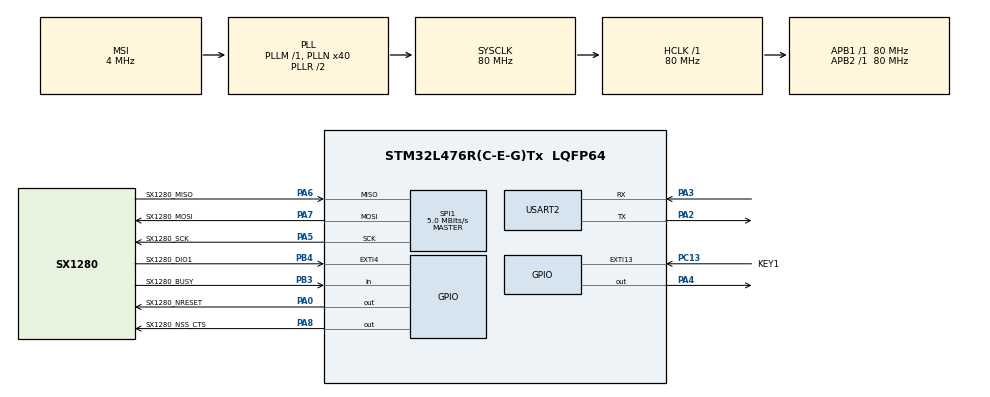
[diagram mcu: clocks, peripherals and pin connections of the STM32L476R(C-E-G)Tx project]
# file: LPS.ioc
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LPTIM1.ClockPrescaler=LPTIM_PRESCALER_DIV128
Mcu.Family=STM32L4
Mcu.Name=STM32L476R(C-E-G)Tx
Mcu.Package=LQFP64
NVIC.EXTI15_10_IRQn=true\:2\:0\:true\:false\:true\:true\:true
NVIC.EXTI4_IRQn=true\:3\:0\:true\:false\:true\:true\:true
NVIC.LPTIM1_IRQn=true\:1\:0\:true\:false\:true\:true\:true
NVIC.PriorityGroup=NVIC_PRIORITYGROUP_4
PA0.GPIO_Label=SX1280_NRESET
PA0.Signal=GPIO_Output
PA13\ (JTMS-SWDIO).Mode=Serial_Wire
PA13\ (JTMS-SWDIO).Signal=SYS_JTMS-SWDIO
PA14\ (JTCK-SWCLK).Mode=Serial_Wire
PA14\ (JTCK-SWCLK).Signal=SYS_JTCK-SWCLK
PA2.Mode=Asynchronous
PA2.Signal=USART2_TX
PA3.Mode=Asynchronous
PA3.Signal=USART2_RX
PA4.Signal=GPIO_Output
PA5.GPIO_Label=SX1280_SCK
PA5.Mode=Full_Duplex_Master
PA5.Signal=SPI1_SCK
PA6.GPIO_Label=SX1280_MISO
PA6.Mode=Full_Duplex_Master
PA6.Signal=SPI1_MISO
PA7.GPIO_Label=SX1280_MOSI
PA7.Mode=Full_Duplex_Master
PA7.Signal=SPI1_MOSI
PA8.GPIO_Label=SX1280_NSS_CTS
PA8.Signal=GPIO_Output
PB3\ (JTDO-TRACESWO).GPIO_Label=SX1280_BUSY
PB3\ (JTDO-TRACESWO).Signal=GPIO_Input
PB4\ (NJTRST).GPIO_Label=SX1280_DIO1
PB4\ (NJTRST).Signal=GPXTI4
PC13.GPIO_Label=KEY1
PC13.GPIO_ModeDefaultEXTI=GPIO_MODE_IT_FALLING
PC13.Signal=GPXTI13
ProjectManager.HeapSize=0x1000
ProjectManager.StackSize=0x1000
ProjectManager.TargetToolchain=MDK-ARM V5.27
RCC.AHBFreq_Value=80000000
RCC.APB1Freq_Value=80000000
RCC.APB1TimFreq_Value=80000000
RCC.APB2Freq_Value=80000000
RCC.APB2TimFreq_Value=80000000
RCC.CortexFreq_Value=80000000
RCC.HCLKFreq_Value=80000000
RCC.HSE_VALUE=8000000
RCC.HSI_VALUE=16000000
RCC.LSE_VALUE=32768
RCC.MSI_VALUE=4000000
RCC.PLLN=40
RCC.SYSCLKFreq_VALUE=80000000
RCC.SYSCLKSource=RCC_SYSCLKSOURCE_PLLCLK
RCC.VCOOutputFreq_Value=160000000
SPI1.BaudRatePrescaler=SPI_BAUDRATEPRESCALER_16
SPI1.CalculateBaudRate=5.0 MBits/s
SPI1.DataSize=SPI_DATASIZE_8BIT
SPI1.Direction=SPI_DIRECTION_2LINES
SPI1.Mode=SPI_MODE_MASTER
SPI1.NSSPMode=SPI_NSS_PULSE_DISABLE
SPI1.VirtualType=VM_MASTER
USART2.VirtualMode-Asynchronous=VM_ASYNC
VP_LPTIM1_VS_LPTIM_counterModeInternalClock.Mode=Counts__internal_clock_event_00
board=custom

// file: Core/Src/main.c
/* USER CODE BEGIN Header */
/**
  ******************************************************************************
  * @file           : main.c
  * @brief          : Main program body
  ******************************************************************************
  * @attention
  *
  * <h2><center>&copy; Copyright (c) 2021 STMicroelectronics.
  * All rights reserved.</center></h2>
  *
  * This software component is licensed by ST under BSD 3-Clause license,
  * the "License"; You may not use this file except in compliance with the
  * License. You may obtain a copy of the License at:
  *                        opensource.org/licenses/BSD-3-Clause
  *
  ******************************************************************************
  */
/* USER CODE END Header */
#include "main.h"
#include "lptim.h"
#include "spi.h"
#include "usart.h"
#include "gpio.h"
#include "route.h"

/* USER CODE BEGIN Includes */
#include "ranging.h"
#include "SEGGER_RTT.h"
/* USER CODE END Includes */

/* USER CODE BEGIN PTD */
typedef enum
{
    DEVICE_MODE_IDLERX                              = 0x00,
    DEVICE_MODE_TXALIVE,
    DEVICE_MODE_RANGING,
}DeviceStates_t;

extern int EntryNumber;
extern int RTindex[];
extern RT_Entry* RouteTable[];
extern uint32_t reply_ip;
extern uint32_t My_addr;

DeviceStates_t DeviceState=DEVICE_MODE_IDLERX;
/* USER CODE END PTD */

/* USER CODE BEGIN PD */
#define LORANGE_ENTITY MASTER
/* USER CODE END PD */

/* USER CODE BEGIN PV */
double distance;
uint32_t RangingDemoAddress =  0x00010001;
uint8_t RangingDoneFlag = 0;
uint8_t RxDoneFlag = 0;
uint8_t RxData[20];
uint8_t RxSize = 1;
uint32_t TxTimestamp;
uint8_t TxLength;
uint8_t* TxData;
uint8_t LPTIM1Count = 0;
char RTT_UpBuffer[4096];
struct
{
  uint8_t AliveTxInterval;
}AliveTxParams;
struct
{
  uint8_t TxDone;
}ProcDoneFlag;
typedef struct
{
  uint32_t ID;
  uint32_t LastSeen;
}RouteTableElement_t;

struct{
  int distance;
}RTT_Value;
/* USER CODE END PV */

void SystemClock_Config(void);

/* USER CODE BEGIN 0 */
void HAL_LPTIM1_INT_Callback(void) //waiting list resend
{

// 	static int turn=0;
//   HAL_GPIO_TogglePin(GPIOA,GPIO_PIN_4);
//   LPTIM1Count++;
//   if(LPTIM1Count>AliveTxParams.AliveTxInterval)
//   {
//     DeviceState = DEVICE_MODE_TXALIVE;
//     TxTimestamp = HAL_GetTick();
// //	  TxData = (uint8_t*)malloc(20*sizeof(uint8_t));
// //    sprintf(TxData,"hello from label%d", turn++);
// //    TxLength = strlen(TxData);
// //    LoRaSendData(TxData, TxLength); //send data here

// 		MeshPackage* p=(MeshPackage*)malloc(sizeof(MeshPackage));
// 		p->type=0;
// 		p->length=1;
// 		p->dest=turn;
// 		p->src=11;
// 		p->ttl=turn++;
// 		TxLength = sizeof(*p);
// 		LoRaSendData((uint8_t*)p, TxLength);
// 		if(turn==10) turn=0;
//     LPTIM1Count = 0;
//   }
}

// void HAL_RECV_Callback(void){
// 	switch (DeviceState)
//     {
//     case DEVICE_MODE_IDLERX:
//       if(RxDoneFlag)
//       {
//         SX1280GetPayload(RxData, &RxSize, 20);
// 				MeshPackage* p=(MeshPackage*)RxData;
// 				Mesh_Recieve((char*)RxData, RxSize);
// //        printf("RT_num=%d\n",EntryNumber);
// //				for(int i=0; i<EntryNumber; i++){
// //					printf("des:%d, flag:%d, fresh:%d, next:%d, num:%d\n",RouteTable[i]->des_addr, RouteTable[i]->flag, RouteTable[i]->Freshness, RouteTable[i]->next_hop, RouteTable[i]->num_hops);
// //				}

//         RxDoneFlag = 0;
//         LoRaSetRx();
//       }
//       break;
//     default:
//       break;
//     }
// }

void parse_package(MeshPackage* package){
  if(package->type==0) //join
  {
    Mesh_Reply_Join(package); //未实现，结点入网申请，是否需要？
  }
  else if(package->type==1&&package->des_addr==My_addr) //针对自己的应答包
  {
    Mesh_Handle_Reply(package); //处理应答
  }
  else if(package->type==2&&package->hop_addr==My_addr) //转发包
  {
    if(package->des_addr==My_addr) //收到的是发给自己的包
    {
      Mesh_Reply(package); //进行应答

      //处理数据

    }
    else //发给别人的包
    {
      Mesh_transmit(package); //进行转发
    }
  }
  else if(package->type==3) //广播查找
  {
    Mesh_Handle_Broadcast(package); //处理广播请求
  }
  else //undefined package
  {
    printf("Undefined package");
  }
}

void HAL_GPIO_EXTI_Callback(uint16_t GPIO_Pin)
{
  if(GPIO_Pin == GPIO_PIN_4)//SX1280 Interrupt
  {
    SX1280_PacketStatus_t *pktStatus;
    SX1280GetPacketStatus(pktStatus);
    uint16_t IrqStatus = SX1280GetIrqStatus();
    printf("EXTI, RSSI=%f, IRQ=%d, RSSI2=%d\n",((double)(-((int8_t)SX1280GetRssiInst())))/2,IrqStatus,pktStatus->Params.LoRa.RssiPkt);
    if((IrqStatus & SX1280_IRQ_TX_DONE) == SX1280_IRQ_TX_DONE)
    {
        DeviceState = DEVICE_MODE_IDLERX;
        LoRaSetRx();
        printf("TxDone %d \n",TxTimestamp);
        ProcDoneFlag.TxDone = 1;
    }
    if((IrqStatus & SX1280_IRQ_RX_DONE) == SX1280_IRQ_RX_DONE)
    {
        RxDoneFlag = 1;
        printf("RxDone\n");
    }

    if(DeviceState == DEVICE_MODE_RANGING) RangingDoneFlag = 1;

    SX1280ClearIrqStatus(SX1280_IRQ_RADIO_ALL);
  }
}
/* USER CODE END 0 */

int main(void)
{

  /* MCU Configuration--------------------------------------------------------*/

  /* Reset of all peripherals, Initializes the Flash interface and the Systick. */
  HAL_Init();

  /* Configure the system clock */
  SystemClock_Config();

  /* Initialize all configured peripherals */
  MX_GPIO_Init();
  MX_SPI1_Init();
  MX_USART2_UART_Init();
  MX_LPTIM1_Init();
  /* USER CODE BEGIN 2 */
  AliveTxParams.AliveTxInterval = 60;
  ProcDoneFlag.TxDone =0;
  printf("LoRange| Bulid:%s\n",__DATE__);
  RangingSetParams();
  RangingInitRadio();
  printf("Version:%x\n",SX1280GetFirmwareVersion());
  // if(LORANGE_ENTITY)
  // {
  //   printf("Slave\n");
  //   RangingInit(SX1280_RADIO_RANGING_ROLE_SLAVE,RangingDemoAddress);
  // }
  // else
  // {
  //   printf("Master\n");
  //   RangingInit(SX1280_RADIO_RANGING_ROLE_MASTER,RangingDemoAddress);
  // }

  HAL_LPTIM_TimeOut_Start_IT(&hlptim1,3000,0);

  LoRaSetRx();
  /* USER CODE END 2 */

  /* Infinite loop */
  /* USER CODE BEGIN WHILE */
  while (1)
  {
    switch (DeviceState)
    {
    case DEVICE_MODE_IDLERX:
      if(RxDoneFlag)
      {
        SX1280GetPayload(RxData, &RxSize, 20);
				MeshPackage* package=(MeshPackage*)RxData;

        parse_package(package);//解析包

        RxDoneFlag = 0;
        LoRaSetRx();
			// 	Mesh_Recieve((char*)RxData, RxSize);
      //  printf("RT_num=%d\n",EntryNumber);
			// 	for(int i=0; i<EntryNumber; i++){
			// 		printf("des:%d, flag:%d, fresh:%d, next:%d, num:%d\n",RouteTable[i]->des_addr, RouteTable[i]->flag, RouteTable[i]->Freshness, RouteTable[i]->next_hop, RouteTable[i]->num_hops);
			// 	}
      }
      break;
    case DEVICE_MODE_RANGING:
      //waiting for ranging
    default:
      break;
    }
    //
    /* USER CODE END WHILE */

  }

//	for(int i=0; i<10; i++){
//		MeshPackage* p=(MeshPackage*)malloc(sizeof(MeshPackage));
//		p->type=0;
//		p->length=1;
//		p->dest=i;
//		p->src=11;
//		p->ttl=i;
//		TxLength = sizeof(*p);
//		LoRaSendData((uint8_t*)p, TxLength);
//		LoRaSetRx();
//		uint32_t timer=0;
//		//uint8_t success_flag=0;
//		while(timer<=10000000){
////			if(reply_ip==i) {
////				success_flag=1;
////				break;
////			}
//			HAL_RECV_Callback();
//			timer++;
//		}
//		//HAL_RECV_Callback();
//
//		if(reply_ip==i) printf("success transmit!");
//		else {
//			printf("repeat send des=%d", i--);
//		}
//
//	}

}

void SystemClock_Config(void)
{
  RCC_OscInitTypeDef RCC_OscInitStruct = {0};
  RCC_ClkInitTypeDef RCC_ClkInitStruct = {0};
  RCC_PeriphCLKInitTypeDef PeriphClkInit = {0};

  /** Initializes the RCC Oscillators according to the specified parameters
  * in the RCC_OscInitTypeDef structure.
  */
  RCC_OscInitStruct.OscillatorType = RCC_OSCILLATORTYPE_MSI;
  RCC_OscInitStruct.MSIState = RCC_MSI_ON;
  RCC_OscInitStruct.MSICalibrationValue = 0;
  RCC_OscInitStruct.MSIClockRange = RCC_MSIRANGE_6;
  RCC_OscInitStruct.PLL.PLLState = RCC_PLL_ON;
  RCC_OscInitStruct.PLL.PLLSource = RCC_PLLSOURCE_MSI;
  RCC_OscInitStruct.PLL.PLLM = 1;
  RCC_OscInitStruct.PLL.PLLN = 40;
  RCC_OscInitStruct.PLL.PLLP = RCC_PLLP_DIV7;
  RCC_OscInitStruct.PLL.PLLQ = RCC_PLLQ_DIV2;
  RCC_OscInitStruct.PLL.PLLR = RCC_PLLR_DIV2;
  if (HAL_RCC_OscConfig(&RCC_OscInitStruct) != HAL_OK)
  {
    Error_Handler();
  }
  /** Initializes the CPU, AHB and APB buses clocks
  */
  RCC_ClkInitStruct.ClockType = RCC_CLOCKTYPE_HCLK|RCC_CLOCKTYPE_SYSCLK
                              |RCC_CLOCKTYPE_PCLK1|RCC_CLOCKTYPE_PCLK2;
  RCC_ClkInitStruct.SYSCLKSource = RCC_SYSCLKSOURCE_PLLCLK;
  RCC_ClkInitStruct.AHBCLKDivider = RCC_SYSCLK_DIV1;
  RCC_ClkInitStruct.APB1CLKDivider = RCC_HCLK_DIV1;
  RCC_ClkInitStruct.APB2CLKDivider = RCC_HCLK_DIV1;

  if (HAL_RCC_ClockConfig(&RCC_ClkInitStruct, FLASH_LATENCY_4) != HAL_OK)
  {
    Error_Handler();
  }
  PeriphClkInit.PeriphClockSelection = RCC_PERIPHCLK_USART2|RCC_PERIPHCLK_LPTIM1;
  PeriphClkInit.Usart2ClockSelection = RCC_USART2CLKSOURCE_PCLK1;
  PeriphClkInit.Lptim1ClockSelection = RCC_LPTIM1CLKSOURCE_PCLK;
  if (HAL_RCCEx_PeriphCLKConfig(&PeriphClkInit) != HAL_OK)
  {
    Error_Handler();
  }
  /** Configure the main internal regulator output voltage
  */
  if (HAL_PWREx_ControlVoltageScaling(PWR_REGULATOR_VOLTAGE_SCALE1) != HAL_OK)
  {
    Error_Handler();
  }
}

void Error_Handler(void)
{
  __disable_irq();
  while (1)
  {
  }
}

/************************ (C) COPYRIGHT STMicroelectronics *****END OF FILE****/
